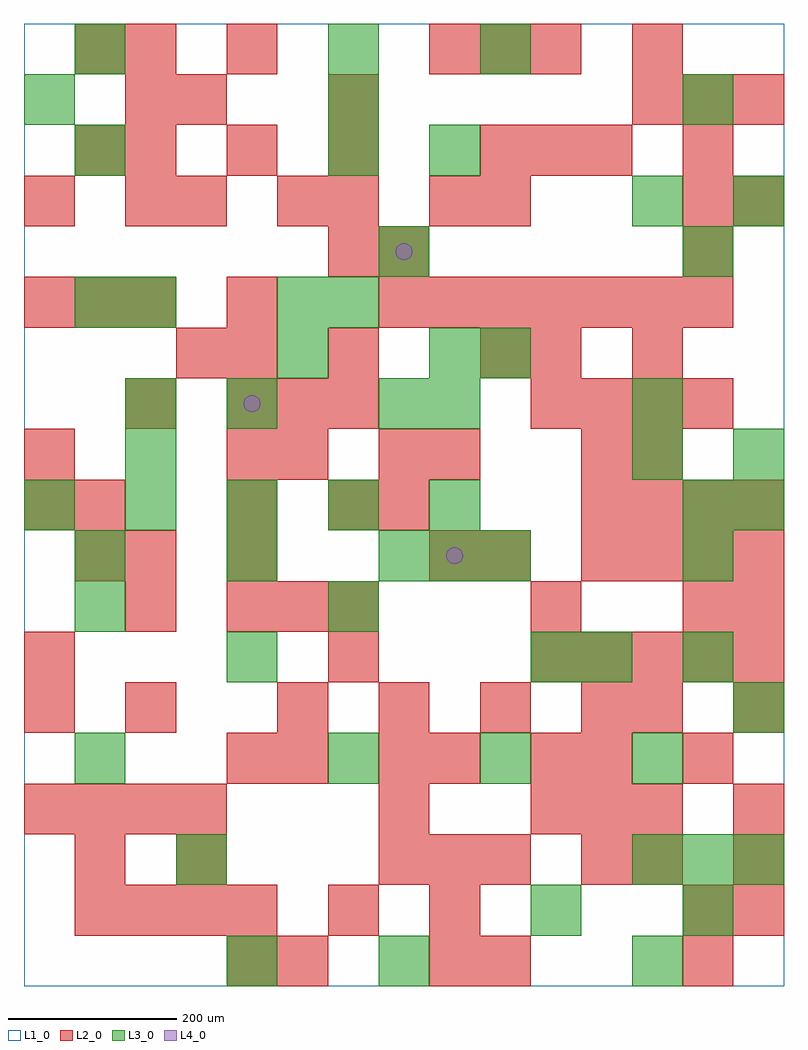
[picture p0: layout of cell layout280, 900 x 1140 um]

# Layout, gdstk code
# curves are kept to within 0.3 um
import gdstk
lib = gdstk.Library(unit=1e-6, precision=1e-09)
def R(c, l, rs):  # rectangles x0, y0, x1, y1
    for r in rs: c.add(gdstk.rectangle(r[:2], r[2:], *l))
def A(c, l, x, y, w, h, nx, ny, dx, dy):  # array of equal rectangles
    R(c, l, [(x+i*dx, y+j*dy, x+i*dx+w, y+j*dy+h) for i in range(nx) for j in range(ny)])
def P(c, l, *ps):  # polygons
    for p in ps: c.add(gdstk.Polygon(p, *l))
L1_0 = (1, 0)
L2_0 = (2, 0)
L3_0 = (3, 0)
L4_0 = (4, 0)

layout280 = lib.new_cell('layout280')
R(layout280, L1_0, [(0,0,900,1140)])
A(layout280, L2_0, 240, 0, 60, 60, 1, 3, 0, 240)
A(layout280, L2_0, 60, 60, 60, 60, 4, 1, 60, 0)
A(layout280, L2_0, 780, 60, 60, 60, 1, 3, 0, 180)
A(layout280, L2_0, 840, 60, 60, 60, 1, 3, 0, 60)
A(layout280, L2_0, 420, 120, 60, 60, 3, 1, 60, 0)
A(layout280, L2_0, 0, 180, 60, 60, 4, 1, 60, 0)
A(layout280, L2_0, 600, 180, 60, 60, 3, 1, 60, 0)
A(layout280, L2_0, 300, 300, 60, 60, 4, 1, 120, 0)
A(layout280, L2_0, 360, 360, 60, 60, 1, 3, 0, 180)
A(layout280, L2_0, 600, 360, 60, 60, 5, 1, 60, 0)
A(layout280, L2_0, 240, 420, 60, 60, 3, 2, 60, 240)
A(layout280, L2_0, 660, 480, 60, 60, 4, 2, 60, 60)
A(layout280, L2_0, 600, 660, 60, 60, 4, 1, 60, 0)
A(layout280, L2_0, 0, 780, 60, 60, 3, 1, 60, 0)
A(layout280, L2_0, 420, 780, 60, 60, 7, 1, 60, 0)
A(layout280, L2_0, 780, 840, 60, 60, 1, 3, 0, 60)
A(layout280, L2_0, 120, 960, 60, 60, 3, 1, 120, 0)
A(layout280, L2_0, 540, 960, 60, 60, 3, 1, 60, 0)
A(layout280, L2_0, 720, 1020, 60, 60, 3, 1, 60, 0)
A(layout280, L2_0, 480, 1080, 60, 60, 3, 1, 60, 0)
R(layout280, L2_0, [(300,0,360,60), (480,0,540,60), (540,0,600,60), (780,0,840,60), (360,60,420,120), (480,60,540,120), (60,120,120,180), (180,120,240,180), (660,120,720,180), (720,120,780,180), (420,180,480,240), (300,240,360,300), (420,240,480,300), (480,240,540,300), (600,240,660,300), (660,240,720,300), (0,300,60,360), (120,300,180,360), (720,300,780,360), (840,300,900,360), (0,360,60,420), (120,420,180,480), (600,420,660,480), (840,420,900,480), (60,480,120,540), (120,480,180,540), (480,480,540,540), (540,480,600,540), (0,540,60,600), (60,540,120,600), (240,540,300,600), (420,540,480,600), (0,600,60,660), (240,600,300,660), (300,600,360,660), (420,600,480,660), (480,600,540,660), (660,600,720,660), (720,600,780,660), (120,660,180,720), (180,720,240,780), (240,720,300,780), (540,720,600,780), (600,720,660,780), (720,720,780,780), (240,780,300,840), (360,840,420,900), (420,840,480,900), (0,900,60,960), (120,900,180,960), (180,900,240,960), (300,900,360,960), (360,900,420,960), (480,900,540,960), (540,900,600,960), (840,900,900,960), (60,960,120,1020), (120,1020,180,1080), (180,1020,240,1080), (360,1020,420,1080), (60,1080,120,1140), (120,1080,180,1140), (240,1080,300,1140), (720,1080,780,1140)])
A(layout280, L3_0, 720, 120, 60, 60, 3, 1, 60, 0)
A(layout280, L3_0, 360, 240, 60, 60, 3, 1, 180, 0)
A(layout280, L3_0, 60, 480, 60, 60, 3, 1, 180, 0)
A(layout280, L3_0, 0, 540, 60, 60, 5, 1, 120, 0)
A(layout280, L3_0, 360, 960, 60, 60, 1, 3, 0, 60)
R(layout280, L3_0, [(240,0,300,60), (420,0,480,60), (720,0,780,60), (600,60,660,120), (780,60,840,120), (180,120,240,180), (60,240,120,300), (840,300,900,360), (240,360,300,420), (600,360,660,420), (660,360,720,420), (780,360,840,420), (60,420,120,480), (360,420,420,480), (480,480,540,540), (540,480,600,540), (780,480,840,540), (780,540,840,600), (840,540,900,600), (120,600,180,660), (720,600,780,660), (840,600,900,660), (120,660,180,720), (240,660,300,720), (420,660,480,720), (480,660,540,720), (720,660,780,720), (300,720,360,780), (480,720,540,780), (540,720,600,780), (60,780,120,840), (120,780,180,840), (300,780,360,840), (360,780,420,840), (420,840,480,900), (780,840,840,900), (720,900,780,960), (840,900,900,960), (60,960,120,1020), (480,960,540,1020), (0,1020,60,1080), (780,1020,840,1080), (60,1080,120,1140), (540,1080,600,1140)])
P(layout280, L4_0, [(280,690),(279.239,693.827),(277.071,697.071),(273.827,699.239),(270,700),(266.173,699.239),(262.929,697.071),(260.761,693.827),(260,690),(260.761,686.173),(262.929,682.929),(266.173,680.761),(270,680),(273.827,680.761),(277.071,682.929),(279.239,686.173)],
  [(460,870),(459.239,873.827),(457.071,877.071),(453.827,879.239),(450,880),(446.173,879.239),(442.929,877.071),(440.761,873.827),(440,870),(440.761,866.173),(442.929,862.929),(446.173,860.761),(450,860),(453.827,860.761),(457.071,862.929),(459.239,866.173)],
  [(520,510),(519.239,513.827),(517.071,517.071),(513.827,519.239),(510,520),(506.173,519.239),(502.929,517.071),(500.761,513.827),(500,510),(500.761,506.173),(502.929,502.929),(506.173,500.761),(510,500),(513.827,500.761),(517.071,502.929),(519.239,506.173)])

lib.write_gds('layout280.gds')
